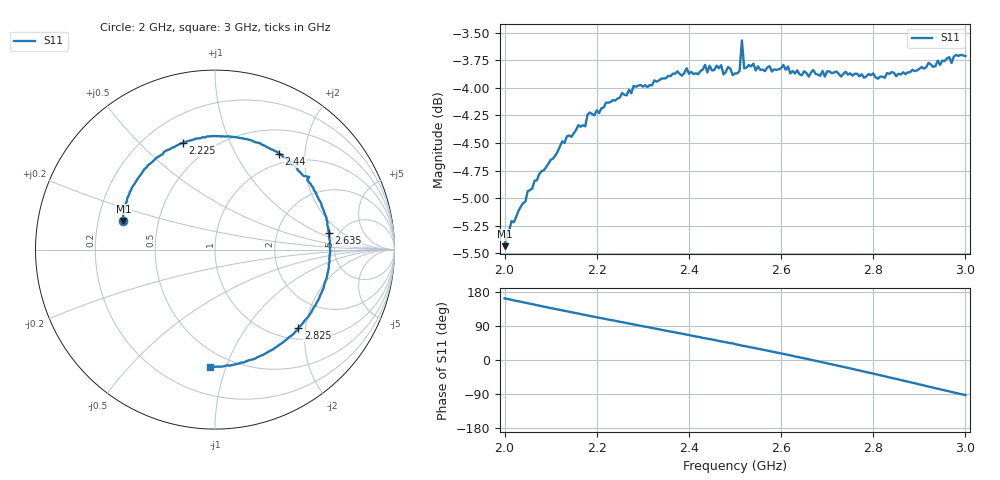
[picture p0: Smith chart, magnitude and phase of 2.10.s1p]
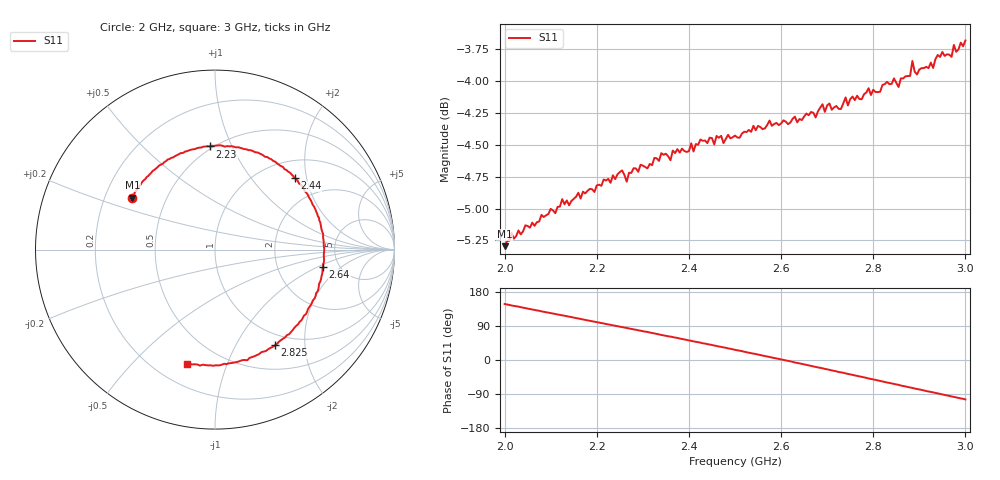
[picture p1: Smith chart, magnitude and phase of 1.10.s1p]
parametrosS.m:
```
close all; clc; clear all;

figure;
hold on;
grid on;
rfplot(sparameters('2.10.s1p'))
rfplot(sparameters('1.10.s1p'))
title('S11 del puerto LO del mezclador')
xlabel('Frequency [Hz]')
ylabel('Magnitude [dB]')
legend('Placa 2', 'Placa 1')

figure;
hold on;
grid on;
rfplot(sparameters('1.11.s1p'))
rfplot(sparameters('1.12.s1p'))
rfplot(sparameters('1.13.s1p'))
title('S11 del puerto RF del mezclador placa 1')
xlabel('Frequency [Hz]')
ylabel('Magnitude [dB]')
legend('2.25 GHz', '2.45 GHz', '2.6 GHz')

figure;
hold on;
grid on;
rfplot(sparameters('2.11.s1p'))
rfplot(sparameters('2.12.s1p'))
rfplot(sparameters('2.13.s1p'))
title('S11 del puerto RF del mezclador placa 2')
xlabel('Frequency [Hz]')
ylabel('Magnitude [dB]')
legend('2.25 GHz', '2.45 GHz', '2.6 GHz')
```
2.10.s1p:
!Agilent Technologies,E8364A,US41440144,A.06.04.32
!Agilent E8364A: A.06.04.32
!Date: Friday, February 02, 2018 10:14:27
!Correction: S11(Full 2 Port(1,2))
!S1P File: Measurement: S11:
# Hz S  dB  R 50
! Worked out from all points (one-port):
!   201 points, 2 GHz to 3 GHz, reference 50 ohm
!   lowest |S11| = -5.4 dB at 2 GHz (marker M1), VSWR 3.30, Z = 15.5 + j6.93 ohm
!   |S11| at or under -10 dB: nowhere
!   S11 on the Smith chart (normalised r, x): 2 GHz: 0.31, +0.14; 2.225 GHz: 0.35, +0.68; 2.44 GHz: 0.84, +1.53; 2.635 GHz: 4.15, +1.33; 2.825 GHz: 1.24, -1.83; 3 GHz: 0.39, -0.88
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2e9  -5.43 162.6
2.1e9  -4.65 137.1
2.16e9  -4.34 122.3
2.225e9  -4.13 106.7
2.335e9  -3.93 81.1
2.44e9  -3.86 56.2
2.495e9  -3.88 44.2
2.515e9  -3.57 37.6
2.635e9  -3.84 8.4
2.67e9  -3.84 -0.8
2.74e9  -3.85 -19.5
2.825e9  -3.91 -43.2
2.92e9  -3.77 -70.1
3e9  -3.71 -92.6
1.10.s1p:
!Agilent Technologies,E8364A,US41440144,A.06.04.32
!Agilent E8364A: A.06.04.32
!Date: Friday, February 02, 2018 10:16:32
!Correction: S11(Full 2 Port(1,2))
!S1P File: Measurement: S11:
# Hz S  dB  R 50
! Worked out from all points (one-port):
!   201 points, 2 GHz to 3 GHz, reference 50 ohm
!   lowest |S11| = -5.3 dB at 2 GHz (marker M1), VSWR 3.38, Z = 15.9 + j13.1 ohm
!   |S11| at or under -10 dB: nowhere
!   S11 on the Smith chart (normalised r, x): 2 GHz: 0.32, +0.26; 2.23 GHz: 0.48, +0.83; 2.44 GHz: 1.38, +1.70; 2.64 GHz: 3.75, -1.14; 2.825 GHz: 0.83, -1.46; 3 GHz: 0.33, -0.73
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2e9  -5.29 147.8
2.125e9  -4.93 117.6
2.23e9  -4.80 92.7
2.335e9  -4.63 67.6
2.375e9  -4.54 58.3
2.44e9  -4.49 41.9
2.54e9  -4.35 17.0
2.64e9  -4.30 -9.1
2.67e9  -4.25 -17.0
2.74e9  -4.13 -35.3
2.825e9  -4.03 -58.0
2.885e9  -3.85 -73.7
2.95e9  -3.78 -90.9
3e9  -3.69 -104.0
